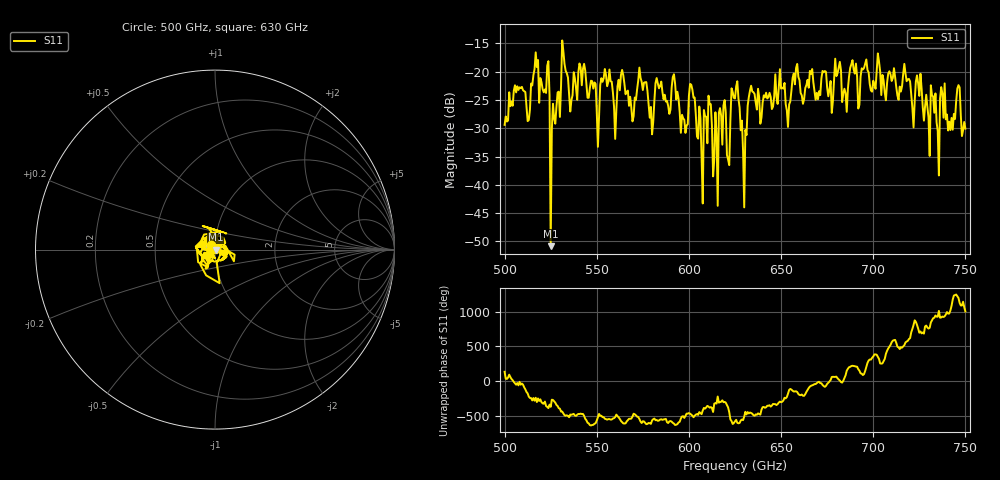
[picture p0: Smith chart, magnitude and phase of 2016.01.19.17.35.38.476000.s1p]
!Created with skrf (http://scikit-rf.org).
# GHz S RI R 50.0
!freq ReS11 ImS11
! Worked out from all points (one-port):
!   401 points, 500 GHz to 750 GHz, reference 50 ohm
!   lowest |S11| = -50.9 dB at 525 GHz (marker M1), VSWR 1.01, Z = 50.3 - j0.0668 ohm
!   |S11| at or under -10 dB: start of sweep to end of sweep
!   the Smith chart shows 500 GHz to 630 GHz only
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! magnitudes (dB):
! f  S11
! 500 GHz  -29.4
! 506.2 GHz  -23.7
! 513.1 GHz  -28.6
! 516.9 GHz  -16.6
! 523.1 GHz  -19.0
! 525 GHz  -50.9
! 526.2 GHz  -25.7
! 531.2 GHz  -14.5
! 550.6 GHz  -33.3
! 562.5 GHz  -23.3
! 579.4 GHz  -26.2
! 583.1 GHz  -22.1
! 593.8 GHz  -23.6
! 598.1 GHz  -30.8
! 601.9 GHz  -23.2
! 606.2 GHz  -28.2
! 610.6 GHz  -24.2
! 614.4 GHz  -27.2
! 618.1 GHz  -32.9
! 621.2 GHz  -35.5
! 625 GHz  -24.7
! 630 GHz  -44.0
! 633.8 GHz  -22.5
! 656.2 GHz  -21.1
! 687.5 GHz  -19.3
! 718.8 GHz  -21.4
! 746.2 GHz  -22.4
! 750 GHz  -30.1
